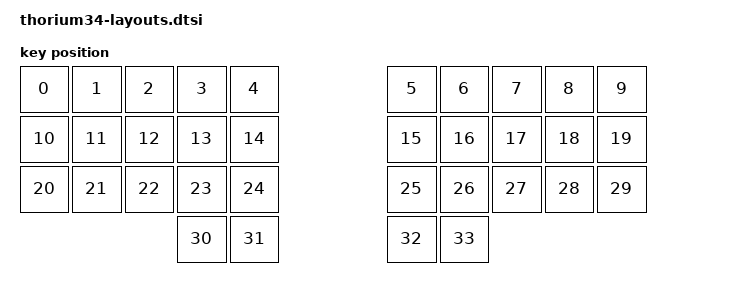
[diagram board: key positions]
#include <physical_layouts.dtsi>

/ {
    physical_layout0: physical_layout0 {
        compatible = "zmk,physical-layout";
        display-name = "THORIUM34";
        keys
            = <&key_physical_attrs 105 100    0    0       0    0    0>
            , <&key_physical_attrs 105 100  105    0       0    0    0>
            , <&key_physical_attrs 105 100  210    0       0    0    0>
            , <&key_physical_attrs 105 100  315    0       0    0    0>
            , <&key_physical_attrs 105 100  420    0       0    0    0>
            , <&key_physical_attrs 105 100  735    0       0    0    0>
            , <&key_physical_attrs 105 100  840    0       0    0    0>
            , <&key_physical_attrs 105 100  945    0       0    0    0>
            , <&key_physical_attrs 105 100 1050    0       0    0    0>
            , <&key_physical_attrs 105 100 1155    0       0    0    0>
            , <&key_physical_attrs 105 100    0  100       0    0    0>
            , <&key_physical_attrs 105 100  105  100       0    0    0>
            , <&key_physical_attrs 105 100  210  100       0    0    0>
            , <&key_physical_attrs 105 100  315  100       0    0    0>
            , <&key_physical_attrs 105 100  420  100       0    0    0>
            , <&key_physical_attrs 105 100  735  100       0    0    0>
            , <&key_physical_attrs 105 100  840  100       0    0    0>
            , <&key_physical_attrs 105 100  945  100       0    0    0>
            , <&key_physical_attrs 105 100 1050  100       0    0    0>
            , <&key_physical_attrs 105 100 1155  100       0    0    0>
            , <&key_physical_attrs 105 100    0  200       0    0    0>
            , <&key_physical_attrs 105 100  105  200       0    0    0>
            , <&key_physical_attrs 105 100  210  200       0    0    0>
            , <&key_physical_attrs 105 100  315  200       0    0    0>
            , <&key_physical_attrs 105 100  420  200       0    0    0>
            , <&key_physical_attrs 105 100  735  200       0    0    0>
            , <&key_physical_attrs 105 100  840  200       0    0    0>
            , <&key_physical_attrs 105 100  945  200       0    0    0>
            , <&key_physical_attrs 105 100 1050  200       0    0    0>
            , <&key_physical_attrs 105 100 1155  200       0    0    0>
            , <&key_physical_attrs 105 100  315  300       0    0    0>
            , <&key_physical_attrs 105 100  420  300       0    0    0>
            , <&key_physical_attrs 105 100  735  300       0    0    0>
            , <&key_physical_attrs 105 100  840  300       0    0    0>
            ;
    };
};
